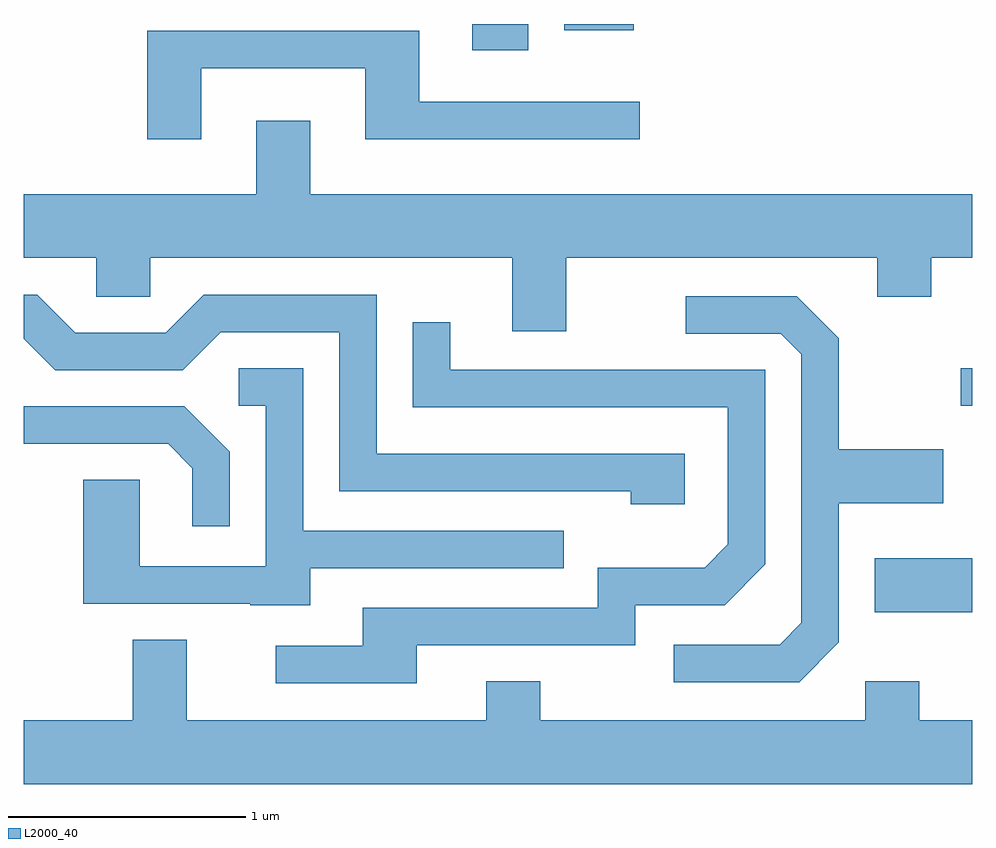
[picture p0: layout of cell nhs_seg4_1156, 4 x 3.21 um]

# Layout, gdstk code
import gdstk
lib = gdstk.Library(unit=1e-6, precision=1e-09)
def R(c, l, rs):  # rectangles x0, y0, x1, y1
    for r in rs: c.add(gdstk.rectangle(r[:2], r[2:], *l))
def P(c, l, *ps):  # polygons
    for p in ps: c.add(gdstk.Polygon(p, *l))
L2000_40 = (2000, 40)

nhs_seg4_1156 = lib.new_cell('nhs_seg4_1156')
R(nhs_seg4_1156, L2000_40, [(223.201,1255.501,223.611,1255.729), (223.563,1256.371,223.611,1256.529), (221.503,1257.871,221.739,1257.982), (221.891,1257.956,222.184,1257.982)])
P(nhs_seg4_1156, L2000_40, [(220.359,1257.796),(221.051,1257.796),(221.051,1257.496),(222.208,1257.496),(222.208,1257.654),(221.279,1257.654),(221.279,1257.954),(220.131,1257.954),(220.131,1257.496),(220.359,1257.496)],
  [(221.899,1256.996),(223.211,1256.996),(223.211,1256.831),(223.439,1256.831),(223.439,1256.996),(223.611,1256.996),(223.611,1257.264),(220.819,1257.264),(220.819,1257.574),(220.591,1257.574),(220.591,1257.264),(219.611,1257.264),(219.611,1256.996),(219.916,1256.996),(219.916,1256.831),(220.144,1256.831),(220.144,1256.996),(221.671,1256.996),(221.671,1256.686),(221.899,1256.686)],
  [(222.399,1256.169),(221.099,1256.169),(221.099,1256.839),(220.369,1256.839),(220.209,1256.679),(219.827,1256.679),(219.667,1256.839),(219.611,1256.839),(219.611,1256.654),(219.744,1256.521),(220.282,1256.521),(220.442,1256.681),(220.941,1256.681),(220.941,1256.011),(222.171,1256.011),(222.171,1255.956),(222.399,1255.956)],
  [(223.049,1255.374),(223.049,1255.961),(223.489,1255.961),(223.489,1256.189),(223.049,1256.189),(223.049,1256.657),(222.872,1256.834),(222.403,1256.834),(222.403,1256.676),(222.804,1256.676),(222.891,1256.589),(222.891,1255.457),(222.799,1255.364),(222.353,1255.364),(222.353,1255.206),(222.882,1255.206)],
  [(221.269,1255.361),(222.189,1255.361),(222.189,1255.531),(222.567,1255.531),(222.739,1255.704),(222.739,1256.524),(221.409,1256.524),(221.409,1256.723),(221.251,1256.723),(221.251,1256.366),(222.581,1256.366),(222.581,1255.787),(222.484,1255.689),(222.031,1255.689),(222.031,1255.519),(221.041,1255.519),(221.041,1255.359),(220.673,1255.359),(220.673,1255.201),(221.269,1255.201)],
  [(220.819,1255.686),(221.888,1255.686),(221.888,1255.844),(220.789,1255.844),(220.789,1256.529),(220.518,1256.529),(220.518,1256.371),(220.631,1256.371),(220.631,1255.694),(220.099,1255.694),(220.099,1256.059),(219.861,1256.059),(219.861,1255.536),(220.565,1255.536),(220.565,1255.531),(220.819,1255.531)],
  [(220.479,1256.177),(220.287,1256.369),(219.611,1256.369),(219.611,1256.211),(220.219,1256.211),(220.321,1256.109),(220.321,1255.863),(220.479,1255.863)],
  [(223.611,1255.044),(223.389,1255.044),(223.389,1255.209),(223.161,1255.209),(223.161,1255.044),(221.789,1255.044),(221.789,1255.209),(221.561,1255.209),(221.561,1255.044),(220.299,1255.044),(220.299,1255.384),(220.071,1255.384),(220.071,1255.044),(219.611,1255.044),(219.611,1254.776),(223.611,1254.776)])

lib.write_gds('nhs_seg4_1156.gds')
